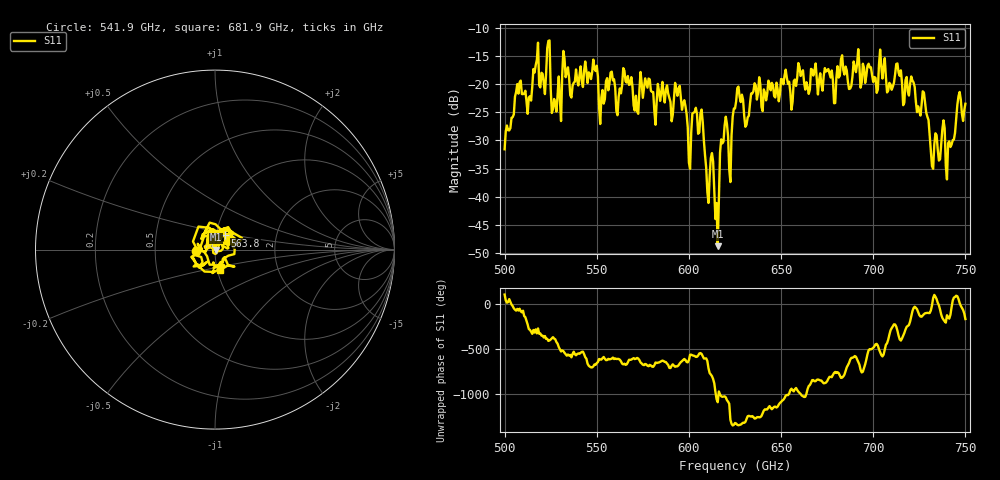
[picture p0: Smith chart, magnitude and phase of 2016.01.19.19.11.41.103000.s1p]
!Created with skrf (http://scikit-rf.org).
# GHz S RI R 50.0
!freq ReS11 ImS11
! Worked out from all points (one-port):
!   401 points, 500 GHz to 750 GHz, reference 50 ohm
!   lowest |S11| = -48.7 dB at 615.6 GHz (marker M1), VSWR 1.01, Z = 50.4 - j0.102 ohm
!   |S11| at or under -10 dB: start of sweep to end of sweep
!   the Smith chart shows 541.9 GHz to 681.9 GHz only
!   S11 on the Smith chart (normalised r, x): 541.9 GHz: 0.81, -0.01; 563.8 GHz: 1.11, +0.18; 681.9 GHz: 1.02, -0.24
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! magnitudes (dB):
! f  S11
! 500 GHz  -31.6
! 507.5 GHz  -21.7
! 513.8 GHz  -22.2
! 516.9 GHz  -16.7
! 523.8 GHz  -12.4
! 526.9 GHz  -22.7
! 531.2 GHz  -18.4
! 541.9 GHz  -19.5
! 562.5 GHz  -20.8
! 563.8 GHz  -20.2
! 571.2 GHz  -22.1
! 593.8 GHz  -22.1
! 600 GHz  -34.0
! 606.9 GHz  -24.5
! 610 GHz  -39.1
! 615.6 GHz  -48.7
! 618.8 GHz  -30.2
! 622.5 GHz  -37.4
! 625 GHz  -24.3
! 656.2 GHz  -23.1
! 681.9 GHz  -18.5
! 687.5 GHz  -20.8
! 718.8 GHz  -21.3
! 728.1 GHz  -23.4
! 731.9 GHz  -34.5
! 740.6 GHz  -30.5
! 746.2 GHz  -22.2
! 750 GHz  -23.5
